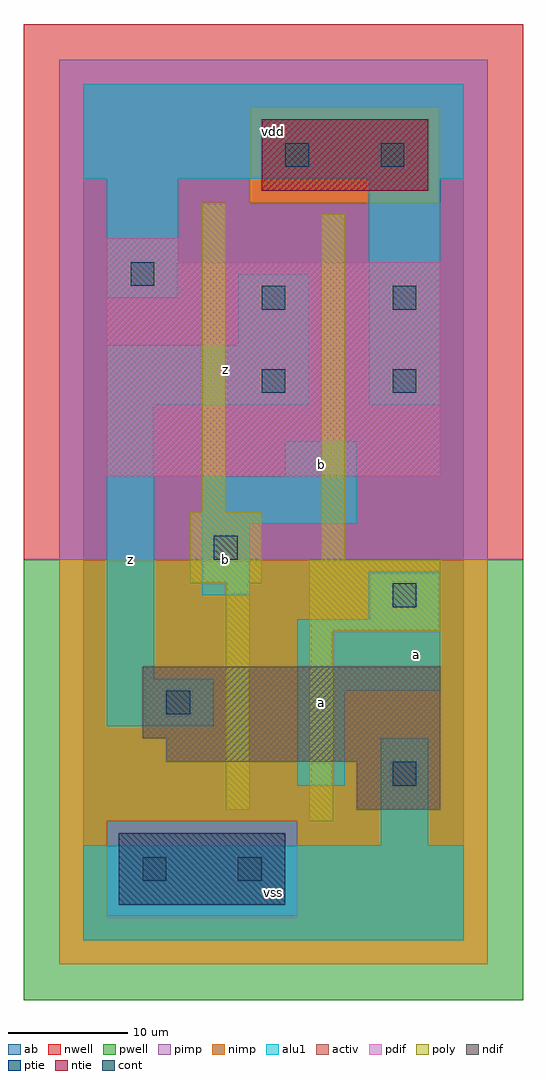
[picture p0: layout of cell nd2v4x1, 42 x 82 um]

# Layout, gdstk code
import gdstk
lib = gdstk.Library(unit=1e-6, precision=1e-09)
def R(c, l, rs):  # rectangles x0, y0, x1, y1
    for r in rs: c.add(gdstk.rectangle(r[:2], r[2:], *l))
ndif = (3, 0)
pdif = (4, 0)
ntie = (5, 0)
ptie = (6, 0)
cont = (25, 0)
pwell = (41, 0)
nwell = (42, 0)
activ = (43, 0)
pimp = (44, 0)
nimp = (45, 0)
poly = (46, 0)
alu1 = (49, 0)
ab = (63, 0)

nd2v4x1 = lib.new_cell('nd2v4x1')
R(nd2v4x1, ndif, [(23,11,30,15), (7,15,30,17), (5,17,30,23)])
R(nd2v4x1, pdif, [(2,39,30,57), (2,57,8,59)])
R(nd2v4x1, ntie, [(15,63,29,69)])
R(nd2v4x1, ptie, [(3,3,17,9)])
R(nd2v4x1, cont, [(5,5,7,7), (13,5,15,7), (26,13,28,15), (7,19,9,21), (26,28,28,30), (11,32,13,34), (15,46,17,48), (26,46,28,48), (15,53,17,55), (26,53,28,55), (4,55,6,57), (17,65,19,67), (25,65,27,67)])
R(nd2v4x1, pwell, [(-5,-5,37,32)])
R(nd2v4x1, nwell, [(-5,32,37,77)])
R(nd2v4x1, activ, [(3,3,17,9), (23,11,30,15), (7,15,30,17), (5,17,30,23), (2,39,30,57), (2,57,8,59), (15,63,29,69)])
R(nd2v4x1, pimp, [(2,2,18,10), (-2,32,34,62), (-2,62,14,70), (30,62,34,70), (-2,70,34,74)])
R(nd2v4x1, nimp, [(-2,-2,34,2), (-2,2,2,10), (18,2,34,10), (-2,10,34,32), (14,62,30,70)])
R(nd2v4x1, poly, [(19,10,21,26), (12,11,14,30), (19,26,30,32), (9,30,15,36), (20,32,22,61), (10,36,12,62)])
R(nd2v4x1, alu1, [(0,0,32,8), (25,8,29,17), (18,13,22,21), (2,18,11,22), (18,21,30,27), (2,22,6,45), (24,27,30,31), (10,29,14,35), (10,35,23,39), (17,39,23,42), (2,45,19,50), (24,45,30,64), (13,50,19,56), (2,54,8,64), (0,64,32,72)])
R(nd2v4x1, ab, [(0,0,32,72)])
nd2v4x1.add(gdstk.Label('z', (4,32), layer=49, texttype=0))
nd2v4x1.add(gdstk.Label('b', (12,32), layer=49, texttype=0))
nd2v4x1.add(gdstk.Label('z', (12,48), layer=49, texttype=0))
nd2v4x1.add(gdstk.Label('vss', (16,4), layer=49, texttype=0))
nd2v4x1.add(gdstk.Label('a', (20,20), layer=49, texttype=0))
nd2v4x1.add(gdstk.Label('b', (20,40), layer=49, texttype=0))
nd2v4x1.add(gdstk.Label('vdd', (16,68), layer=49, texttype=0))
nd2v4x1.add(gdstk.Label('a', (28,24), layer=49, texttype=0))

lib.write_gds('nd2v4x1.gds')
